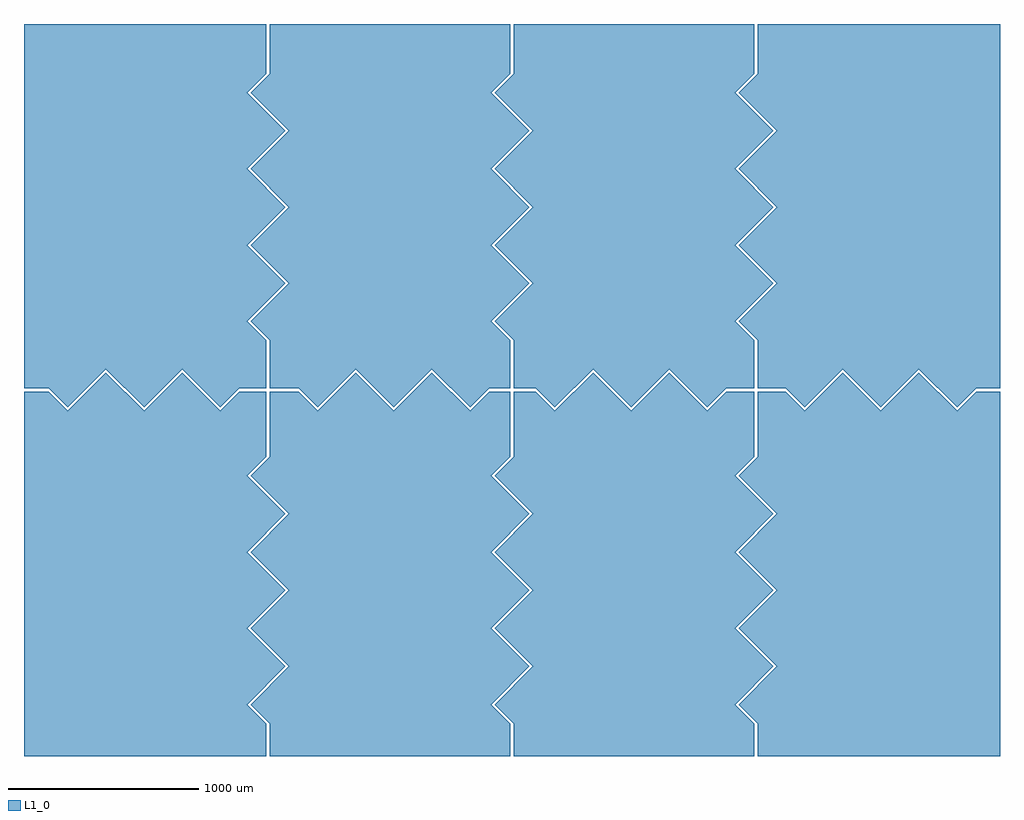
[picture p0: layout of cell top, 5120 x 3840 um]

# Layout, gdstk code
import gdstk
lib = gdstk.Library(unit=1e-6, precision=5e-06)
def P(c, l, *ps):  # polygons
    for p in ps: c.add(gdstk.Polygon(p, *l))
L1_0 = (1, 0)

top = lib.new_cell('top')
P(top, L1_0, [(1290,0),(1290,170),(1190,270),(1390,470),(1190,670),(1390,870),(1190,1070),(1390,1270),(1190,1470),(1290,1570),(1290,1910),(1440,1910),(1540,1810),(1740,2010),(1940,1810),(2140,2010),(2340,1810),(2440,1910),(2550,1910),(2550,1570),(2450,1470),(2650,1270),(2450,1070),(2650,870),(2450,670),(2650,470),(2450,270),(2550,170),(2550,0)],
  [(2570,0),(2570,170),(2470,270),(2670,470),(2470,670),(2670,870),(2470,1070),(2670,1270),(2470,1470),(2570,1570),(2570,1910),(2685,1910),(2785,1810),(2985,2010),(3185,1810),(3385,2010),(3585,1810),(3685,1910),(3830,1910),(3830,1570),(3730,1470),(3930,1270),(3730,1070),(3930,870),(3730,670),(3930,470),(3730,270),(3830,170),(3830,0)],
  [(3850,0),(3850,170),(3750,270),(3950,470),(3750,670),(3950,870),(3750,1070),(3950,1270),(3750,1470),(3850,1570),(3850,1910),(3995,1910),(4095,1810),(4295,2010),(4495,1810),(4695,2010),(4895,1810),(4995,1910),(5120,1910),(5120,0)],
  [(0,0),(0,1910),(130,1910),(230,1810),(430,2010),(630,1810),(830,2010),(1030,1810),(1130,1910),(1270,1910),(1270,1570),(1170,1470),(1370,1270),(1170,1070),(1370,870),(1170,670),(1370,470),(1170,270),(1270,170),(1270,0)],
  [(1540,1830),(1440,1930),(1290,1930),(1290,2180),(1190,2280),(1390,2480),(1190,2680),(1390,2880),(1190,3080),(1390,3280),(1190,3480),(1290,3580),(1290,3840),(2550,3840),(2550,3580),(2450,3480),(2650,3280),(2450,3080),(2650,2880),(2450,2680),(2650,2480),(2450,2280),(2550,2180),(2550,1930),(2440,1930),(2340,1830),(2140,2030),(1940,1830),(1740,2030)],
  [(2785,1830),(2685,1930),(2570,1930),(2570,2180),(2470,2280),(2670,2480),(2470,2680),(2670,2880),(2470,3080),(2670,3280),(2470,3480),(2570,3580),(2570,3840),(3830,3840),(3830,3580),(3730,3480),(3930,3280),(3730,3080),(3930,2880),(3730,2680),(3930,2480),(3730,2280),(3830,2180),(3830,1930),(3685,1930),(3585,1830),(3385,2030),(3185,1830),(2985,2030)],
  [(4095,1830),(3995,1930),(3850,1930),(3850,2180),(3750,2280),(3950,2480),(3750,2680),(3950,2880),(3750,3080),(3950,3280),(3750,3480),(3850,3580),(3850,3840),(5120,3840),(5120,1930),(4995,1930),(4895,1830),(4695,2030),(4495,1830),(4295,2030)],
  [(230,1830),(130,1930),(0,1930),(0,3840),(1270,3840),(1270,3580),(1170,3480),(1370,3280),(1170,3080),(1370,2880),(1170,2680),(1370,2480),(1170,2280),(1270,2180),(1270,1930),(1130,1930),(1030,1830),(830,2030),(630,1830),(430,2030)])

lib.write_gds('top.gds')
